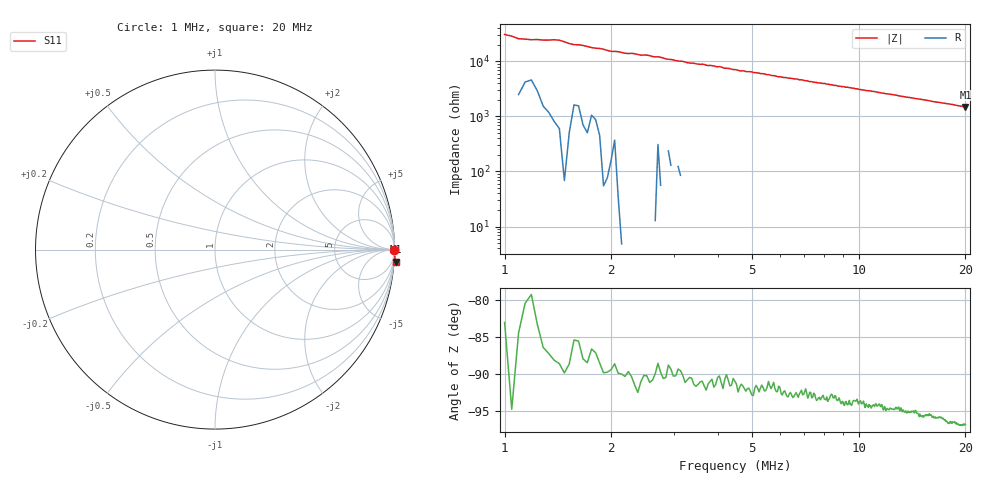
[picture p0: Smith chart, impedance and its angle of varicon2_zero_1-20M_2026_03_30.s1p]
# HZ S RI R 50
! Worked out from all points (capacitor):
!   401 points, 1 MHz to 20 MHz, reference 50 ohm
!   read as one part to ground: C = 5.03 pF near 1.095 MHz
!   lowest |Z| = 1.49 kohm at 20 MHz (marker M1)
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1000000  0.9996 -0.0032
1190000  0.9992 -0.00395
1427500  0.9999 -0.0041
2092500  1 -0.00662
2615000  1 -0.00811
3375000  1 -0.0107
3992500  1 -0.0125
4562500  1 -0.0144
4942500  1.001 -0.0153
5750000  1 -0.0181
8125000  1.001 -0.0258
8457500  1.001 -0.0269
9170000  1.001 -0.0293
9787500  1.001 -0.0313
1.05e7  1.002 -0.0337
1.11175e7  1.002 -0.0355
1.18775e7  1.002 -0.0382
1.25425e7  1.003 -0.0401
1.2875e7  1.002 -0.0416
1.36825e7  1.003 -0.0445
1.4395e7  1.003 -0.0469
1.525e7  1.004 -0.0496
1.61525e7  1.004 -0.0534
1.70075e7  1.004 -0.0559
1.7625e7  1.005 -0.058
1.791e7  1.005 -0.0588
1.83375e7  1.005 -0.0602
2e7  1.006 -0.0673
